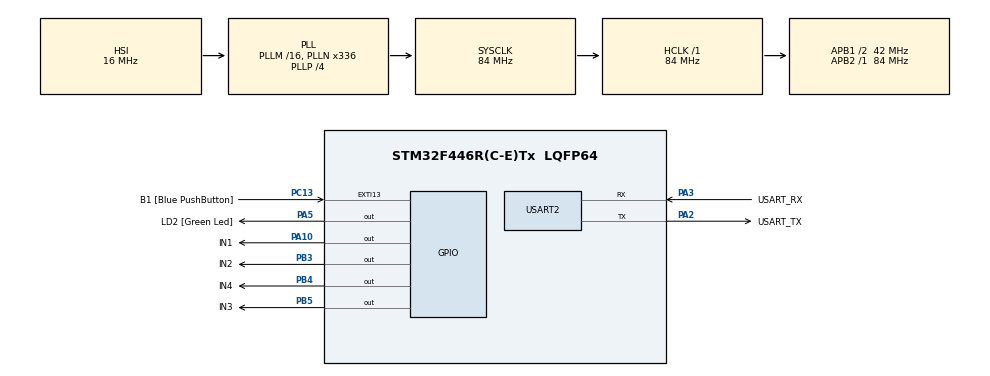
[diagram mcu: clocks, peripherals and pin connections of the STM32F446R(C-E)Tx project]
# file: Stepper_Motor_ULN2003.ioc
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Mcu.Family=STM32F4
Mcu.Name=STM32F446R(C-E)Tx
Mcu.Package=LQFP64
NVIC.PriorityGroup=NVIC_PRIORITYGROUP_0
PA10.GPIO_Label=IN1
PA10.Signal=GPIO_Output
PA13.GPIO_Label=TMS
PA13.Mode=Serial_Wire
PA13.Signal=SYS_JTMS-SWDIO
PA14.GPIO_Label=TCK
PA14.Mode=Serial_Wire
PA14.Signal=SYS_JTCK-SWCLK
PA2.GPIO_Label=USART_TX
PA2.Mode=Asynchronous
PA2.Signal=USART2_TX
PA3.GPIO_Label=USART_RX
PA3.Mode=Asynchronous
PA3.Signal=USART2_RX
PA5.GPIO_Label=LD2 [Green Led]
PA5.Signal=GPIO_Output
PB3.GPIO_Label=IN2
PB3.Signal=GPIO_Output
PB4.GPIO_Label=IN4
PB4.Signal=GPIO_Output
PB5.GPIO_Label=IN3
PB5.Signal=GPIO_Output
PC13.GPIO_Label=B1 [Blue PushButton]
PC13.GPIO_ModeDefaultEXTI=GPIO_MODE_IT_FALLING
PC13.Signal=GPXTI13
PC14-OSC32_IN.Mode=LSE-External-Oscillator
PC14-OSC32_IN.Signal=RCC_OSC32_IN
PC15-OSC32_OUT.Mode=LSE-External-Oscillator
PC15-OSC32_OUT.Signal=RCC_OSC32_OUT
PH0-OSC_IN.Mode=HSE-External-Oscillator
PH0-OSC_IN.Signal=RCC_OSC_IN
PH1-OSC_OUT.Mode=HSE-External-Oscillator
PH1-OSC_OUT.Signal=RCC_OSC_OUT
ProjectManager.HeapSize=0x200
ProjectManager.StackSize=0x400
ProjectManager.TargetToolchain=STM32CubeIDE
RCC.48MHZClocksFreq_Value=84000000
RCC.AHBFreq_Value=84000000
RCC.APB1CLKDivider=RCC_HCLK_DIV2
RCC.APB1Freq_Value=42000000
RCC.APB1TimFreq_Value=84000000
RCC.APB2Freq_Value=84000000
RCC.APB2TimFreq_Value=84000000
RCC.CortexFreq_Value=84000000
RCC.FLatency-AdvancedSettings=FLASH_LATENCY_2
RCC.HCLKFreq_Value=84000000
RCC.HSE_VALUE=8000000
RCC.HSI_VALUE=16000000
RCC.PLLN=336
RCC.PLLP=RCC_PLLP_DIV4
RCC.SYSCLKFreq_VALUE=84000000
RCC.SYSCLKSource=RCC_SYSCLKSOURCE_PLLCLK
RCC.USBFreq_Value=168000000
RCC.VCOOutputFreq_Value=336000000
USART2.VirtualMode=VM_ASYNC
board=NUCLEO-F446RE

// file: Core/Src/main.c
/* USER CODE BEGIN Header */
/**
  ******************************************************************************
  * @file           : main.c
  * @brief          : Main program body
  ******************************************************************************
  * @attention
  *
  * Copyright (c) 2024 STMicroelectronics.
  * All rights reserved.
  *
  * This software is licensed under terms that can be found in the LICENSE file
  * in the root directory of this software component.
  * If no LICENSE file comes with this software, it is provided AS-IS.
  *
  ******************************************************************************
  */
/* USER CODE END Header */
#include "main.h"

/* USER CODE BEGIN PTD */
#define time 1
/* USER CODE END PTD */

UART_HandleTypeDef huart2;

/* USER CODE BEGIN PV */
uint16_t Pin[] = {IN1_Pin,IN2_Pin,IN3_Pin,IN4_Pin};
GPIO_TypeDef* Port[] = {IN1_GPIO_Port,IN2_GPIO_Port,IN3_GPIO_Port,IN4_GPIO_Port};

/* USER CODE END PV */

void SystemClock_Config(void);
static void MX_GPIO_Init(void);
static void MX_USART2_UART_Init(void);
/* USER CODE BEGIN PFP */

void DATA_Write(uint8_t data) {

	for(uint8_t i=0;i<4;i++){

		HAL_GPIO_WritePin(Port[i], Pin[i], ((data >> i) & 0x01) ? GPIO_PIN_SET:GPIO_PIN_RESET);
		HAL_Delay(1);
	}
}
/* USER CODE END PFP */

int main(void)
{

  /* MCU Configuration--------------------------------------------------------*/

  /* Reset of all peripherals, Initializes the Flash interface and the Systick. */
  HAL_Init();

  /* Configure the system clock */
  SystemClock_Config();

  /* Initialize all configured peripherals */
  MX_GPIO_Init();
  MX_USART2_UART_Init();

  /* Infinite loop */
  /* USER CODE BEGIN WHILE */
  while (1){

	  for(uint16_t i=0;i<512;i++)
	  {

		  DATA_Write(0x01);
		  HAL_Delay(1);
		  DATA_Write(0x02);
		  HAL_Delay(1);
		  DATA_Write(0x04);
		  HAL_Delay(1);
		  DATA_Write(0x08);
		  HAL_Delay(1);

	  }

	  for(uint16_t i=0;i<512;i++)
	  {

		  DATA_Write(0x08);
		  HAL_Delay(1);
		  DATA_Write(0x04);
		  HAL_Delay(1);
		  DATA_Write(0x02);
		  HAL_Delay(1);
		  DATA_Write(0x01);
		  HAL_Delay(1);

	  }
    /* USER CODE END WHILE */
  	  }

}
void SystemClock_Config(void)
{
  RCC_OscInitTypeDef RCC_OscInitStruct = {0};
  RCC_ClkInitTypeDef RCC_ClkInitStruct = {0};

  /** Configure the main internal regulator output voltage
  */
  __HAL_RCC_PWR_CLK_ENABLE();
  __HAL_PWR_VOLTAGESCALING_CONFIG(PWR_REGULATOR_VOLTAGE_SCALE3);

  /** Initializes the RCC Oscillators according to the specified parameters
  * in the RCC_OscInitTypeDef structure.
  */
  RCC_OscInitStruct.OscillatorType = RCC_OSCILLATORTYPE_HSI;
  RCC_OscInitStruct.HSIState = RCC_HSI_ON;
  RCC_OscInitStruct.HSICalibrationValue = RCC_HSICALIBRATION_DEFAULT;
  RCC_OscInitStruct.PLL.PLLState = RCC_PLL_ON;
  RCC_OscInitStruct.PLL.PLLSource = RCC_PLLSOURCE_HSI;
  RCC_OscInitStruct.PLL.PLLM = 16;
  RCC_OscInitStruct.PLL.PLLN = 336;
  RCC_OscInitStruct.PLL.PLLP = RCC_PLLP_DIV4;
  RCC_OscInitStruct.PLL.PLLQ = 2;
  RCC_OscInitStruct.PLL.PLLR = 2;
  if (HAL_RCC_OscConfig(&RCC_OscInitStruct) != HAL_OK)
  {
    Error_Handler();
  }

  /** Initializes the CPU, AHB and APB buses clocks
  */
  RCC_ClkInitStruct.ClockType = RCC_CLOCKTYPE_HCLK|RCC_CLOCKTYPE_SYSCLK
                              |RCC_CLOCKTYPE_PCLK1|RCC_CLOCKTYPE_PCLK2;
  RCC_ClkInitStruct.SYSCLKSource = RCC_SYSCLKSOURCE_PLLCLK;
  RCC_ClkInitStruct.AHBCLKDivider = RCC_SYSCLK_DIV1;
  RCC_ClkInitStruct.APB1CLKDivider = RCC_HCLK_DIV2;
  RCC_ClkInitStruct.APB2CLKDivider = RCC_HCLK_DIV1;

  if (HAL_RCC_ClockConfig(&RCC_ClkInitStruct, FLASH_LATENCY_2) != HAL_OK)
  {
    Error_Handler();
  }
}

static void MX_USART2_UART_Init(void)
{

  huart2.Instance = USART2;
  huart2.Init.BaudRate = 115200;
  huart2.Init.WordLength = UART_WORDLENGTH_8B;
  huart2.Init.StopBits = UART_STOPBITS_1;
  huart2.Init.Parity = UART_PARITY_NONE;
  huart2.Init.Mode = UART_MODE_TX_RX;
  huart2.Init.HwFlowCtl = UART_HWCONTROL_NONE;
  huart2.Init.OverSampling = UART_OVERSAMPLING_16;
  if (HAL_UART_Init(&huart2) != HAL_OK)
  {
    Error_Handler();
  }

}

static void MX_GPIO_Init(void)
{
  GPIO_InitTypeDef GPIO_InitStruct = {0};

  /* GPIO Ports Clock Enable */
  __HAL_RCC_GPIOC_CLK_ENABLE();
  __HAL_RCC_GPIOH_CLK_ENABLE();
  __HAL_RCC_GPIOA_CLK_ENABLE();
  __HAL_RCC_GPIOB_CLK_ENABLE();

  /*Configure GPIO pin Output Level */
  HAL_GPIO_WritePin(GPIOA, LD2_Pin|IN1_Pin, GPIO_PIN_RESET);

  /*Configure GPIO pin Output Level */
  HAL_GPIO_WritePin(GPIOB, IN2_Pin|IN4_Pin|IN3_Pin, GPIO_PIN_RESET);

  /*Configure GPIO pin : B1_Pin */
  GPIO_InitStruct.Pin = B1_Pin;
  GPIO_InitStruct.Mode = GPIO_MODE_IT_FALLING;
  GPIO_InitStruct.Pull = GPIO_NOPULL;
  HAL_GPIO_Init(B1_GPIO_Port, &GPIO_InitStruct);

  /*Configure GPIO pins : LD2_Pin IN1_Pin */
  GPIO_InitStruct.Pin = LD2_Pin|IN1_Pin;
  GPIO_InitStruct.Mode = GPIO_MODE_OUTPUT_PP;
  GPIO_InitStruct.Pull = GPIO_NOPULL;
  GPIO_InitStruct.Speed = GPIO_SPEED_FREQ_LOW;
  HAL_GPIO_Init(GPIOA, &GPIO_InitStruct);

  /*Configure GPIO pins : IN2_Pin IN4_Pin IN3_Pin */
  GPIO_InitStruct.Pin = IN2_Pin|IN4_Pin|IN3_Pin;
  GPIO_InitStruct.Mode = GPIO_MODE_OUTPUT_PP;
  GPIO_InitStruct.Pull = GPIO_NOPULL;
  GPIO_InitStruct.Speed = GPIO_SPEED_FREQ_LOW;
  HAL_GPIO_Init(GPIOB, &GPIO_InitStruct);

}

void Error_Handler(void)
{
  __disable_irq();
  while (1)
  {
  }
}
